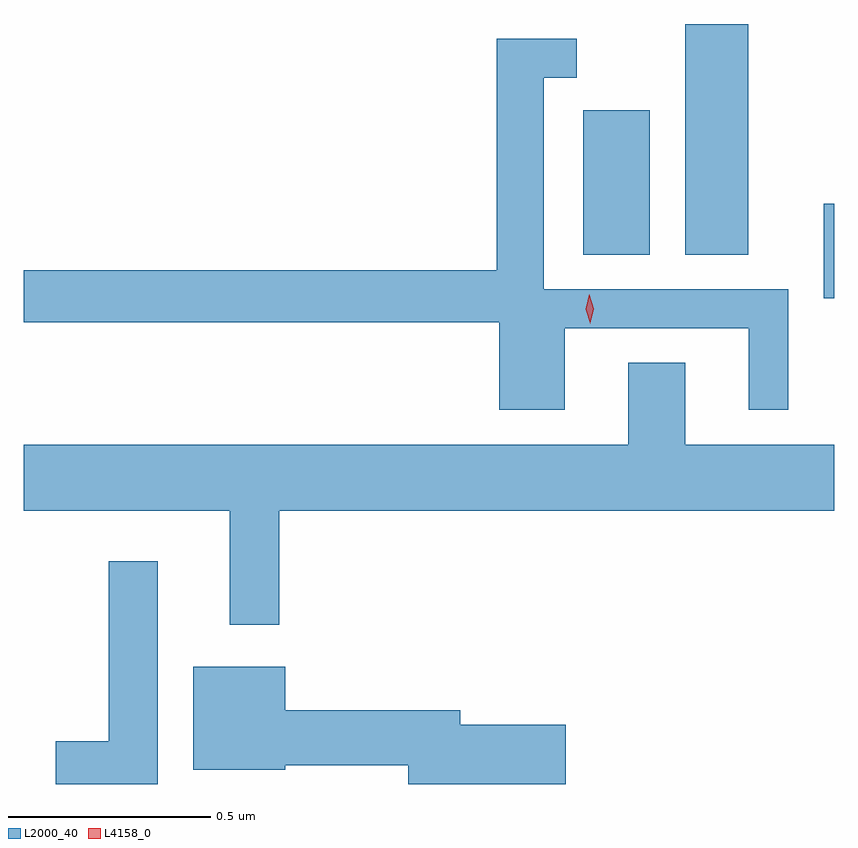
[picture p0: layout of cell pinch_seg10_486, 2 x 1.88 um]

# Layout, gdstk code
import gdstk
lib = gdstk.Library(unit=1e-6, precision=1e-09)
def R(c, l, rs):  # rectangles x0, y0, x1, y1
    for r in rs: c.add(gdstk.rectangle(r[:2], r[2:], *l))
def P(c, l, *ps):  # polygons
    for p in ps: c.add(gdstk.Polygon(p, *l))
L2000_40 = (2000, 40)
L4158_0 = (4158, 0)

pinch_seg10_486 = lib.new_cell('pinch_seg10_486')
R(pinch_seg10_486, L2000_40, [(340.64,1294.181,340.665,1294.414), (340.046,1294.288,340.21,1294.645), (340.298,1294.288,340.453,1294.858)])
P(pinch_seg10_486, L2000_40, [(340,1294.107),(340.454,1294.107),(340.454,1293.906),(340.552,1293.906),(340.552,1294.203),(339.948,1294.203),(339.948,1294.725),(340.03,1294.725),(340.03,1294.822),(339.832,1294.822),(339.832,1294.25),(338.665,1294.25),(338.665,1294.122),(339.839,1294.122),(339.839,1293.906),(340,1293.906)],
  [(339.295,1293.656),(340.665,1293.656),(340.665,1293.82),(340.297,1293.82),(340.297,1294.022),(340.157,1294.022),(340.157,1293.82),(338.665,1293.82),(338.665,1293.656),(339.173,1293.656),(339.173,1293.375),(339.295,1293.375)],
  [(338.995,1293.532),(338.874,1293.532),(338.874,1293.088),(338.744,1293.088),(338.744,1292.982),(338.995,1292.982)],
  [(340.003,1293.128),(339.742,1293.128),(339.742,1293.164),(339.31,1293.164),(339.31,1293.271),(339.083,1293.271),(339.083,1293.017),(339.31,1293.017),(339.31,1293.028),(339.614,1293.028),(339.614,1292.982),(340.003,1292.982)])
P(pinch_seg10_486, L4158_0, [(340.063,1294.118),(340.063,1294.119),(340.052,1294.154),(340.06,1294.191),(340.06,1294.191),(340.06,1294.191),(340.072,1294.155),(340.063,1294.119)])

lib.write_gds('pinch_seg10_486.gds')
